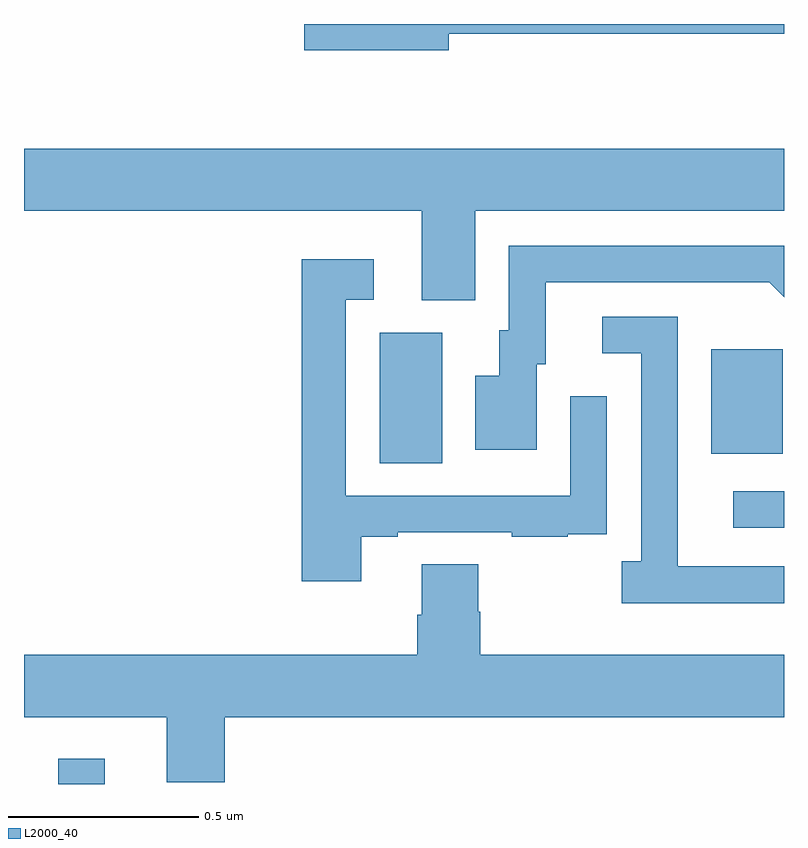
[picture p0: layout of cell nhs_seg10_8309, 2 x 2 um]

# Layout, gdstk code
import gdstk
lib = gdstk.Library(unit=1e-6, precision=1e-09)
def R(c, l, rs):  # rectangles x0, y0, x1, y1
    for r in rs: c.add(gdstk.rectangle(r[:2], r[2:], *l))
def P(c, l, *ps):  # polygons
    for p in ps: c.add(gdstk.Polygon(p, *l))
L2000_40 = (2000, 40)

nhs_seg10_8309 = lib.new_cell('nhs_seg10_8309')
R(nhs_seg10_8309, L2000_40, [(215.09,1273.5,215.212,1273.567), (216.867,1274.175,217,1274.271), (215.936,1274.344,216.1,1274.688), (216.809,1274.369,216.997,1274.644)])
P(nhs_seg10_8309, L2000_40, [(216.118,1275.474),(217,1275.474),(217,1275.5),(215.738,1275.5),(215.738,1275.431),(216.118,1275.431)],
  [(216.187,1275.008),(217,1275.008),(217,1275.172),(215,1275.172),(215,1275.008),(216.047,1275.008),(216.047,1274.773),(216.187,1274.773)],
  [(216.349,1274.604),(216.373,1274.604),(216.373,1274.82),(216.961,1274.82),(217,1274.781),(217,1274.916),(216.276,1274.916),(216.276,1274.694),(216.251,1274.694),(216.251,1274.575),(216.188,1274.575),(216.188,1274.379),(216.349,1274.379)],
  [(215.887,1274.151),(215.983,1274.151),(215.983,1274.163),(216.283,1274.163),(216.283,1274.151),(216.431,1274.151),(216.431,1274.157),(216.533,1274.157),(216.533,1274.266),(216.534,1274.266),(216.534,1274.521),(216.438,1274.521),(216.438,1274.259),(215.847,1274.259),(215.847,1274.775),(215.92,1274.775),(215.92,1274.881),(215.731,1274.881),(215.731,1274.034),(215.887,1274.034)],
  [(217,1274.073),(216.721,1274.073),(216.721,1274.273),(216.72,1274.273),(216.72,1274.73),(216.522,1274.73),(216.522,1274.634),(216.624,1274.634),(216.624,1274.086),(216.573,1274.086),(216.573,1273.976),(217,1273.976)],
  [(215.528,1273.676),(217,1273.676),(217,1273.84),(216.2,1273.84),(216.2,1273.953),(216.195,1273.953),(216.195,1274.078),(216.047,1274.078),(216.047,1273.946),(216.035,1273.946),(216.035,1273.84),(215,1273.84),(215,1273.676),(215.375,1273.676),(215.375,1273.504),(215.528,1273.504)])

lib.write_gds('nhs_seg10_8309.gds')
